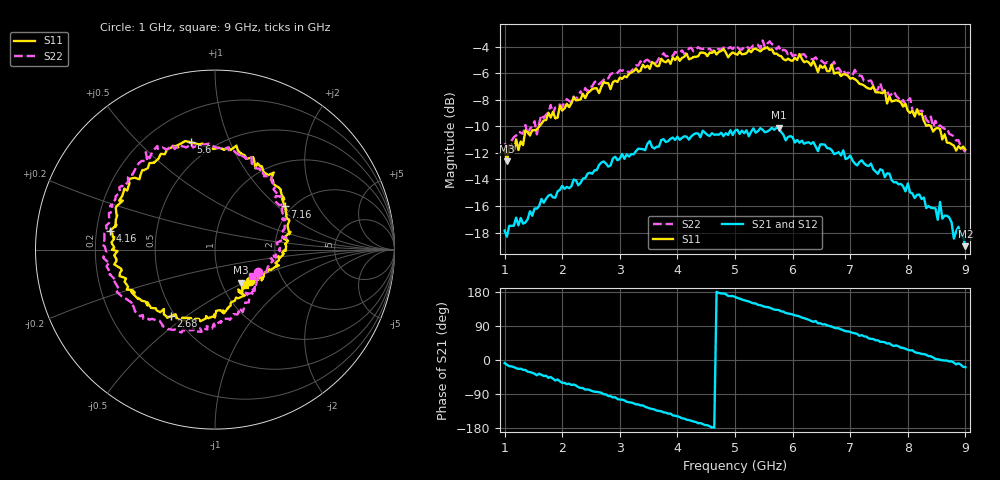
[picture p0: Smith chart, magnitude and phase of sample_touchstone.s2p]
!Synthetic 2-port Touchstone sample dataset
! Created with skrf 2.0.1 (http://scikit-rf.org).
# GHz S RI R 50.0
!freq ReS11 ImS11 ReS21 ImS21 ReS12 ImS12 ReS22 ImS22
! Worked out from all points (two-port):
!   201 points, 1 GHz to 9 GHz, reference 50 ohm
!   highest |S21| = -10.10 dB at 5.76 GHz (marker M1); lowest = -19.0 dB at 9 GHz (marker M2)
!   |S21| within 3 dB of the highest: 2.62 GHz to 7.388 GHz (4.768 GHz wide, 95.3 % of centre)
!   lowest |S11| = -12.6 dB at 1.04 GHz (marker M3), VSWR 1.61, Z = 61.6 - j23.9 ohm
!   |S11| at or under -10 dB: start of sweep to 1.602 GHz; 8.402 GHz to end of sweep
!   |S22| runs from -11.9 to -3.5 dB; largest |S21 - S12| = 0
!   S11 on the Smith chart (normalised r, x): 1 GHz: 1.37, -0.51; 2.68 GHz: 0.47, -0.44; 4.16 GHz: 0.26, +0.08; 5.6 GHz: 0.38, +0.73; 7.16 GHz: 1.83, +1.12; 9 GHz: 1.27, -0.54
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1  0.1923 -0.1742  0.1267 -0.0182  0.1267 -0.0182  0.2417 -0.1273
1.04  0.1435 -0.1837  0.1185 -0.0261  0.1185 -0.0261  0.2318 -0.1262
1.36  0.1667 -0.2552  0.1231 -0.0609  0.1231 -0.0609  0.2206 -0.2316
1.56  0.0881 -0.2944  0.1183 -0.1  0.1183 -0.1  0.17 -0.241
1.8  0.0445 -0.3384  0.1242 -0.1232  0.1242 -0.1232  0.1547 -0.3477
2.36  -0.1261 -0.3994  0.054 -0.1937  0.054 -0.1937  -0.0065 -0.4124
2.68  -0.2457 -0.3717  0.0134 -0.2306  0.0134 -0.2306  -0.1196 -0.448
3.36  -0.4596 -0.2261  -0.1291 -0.2257  -0.1291 -0.2257  -0.3996 -0.3858
3.68  -0.5225 -0.1066  -0.1858 -0.1894  -0.1858 -0.1894  -0.5035 -0.268
4.16  -0.5841 0.1056  -0.2671 -0.1106  -0.2671 -0.1106  -0.5913 -0.0742
4.36  -0.5482 0.191  -0.2891 -0.0673  -0.2891 -0.0673  -0.6273 0.0277
5  -0.3954 0.4427  -0.2962 0.07  -0.2962 0.07  -0.5334 0.3473
5.6  -0.1357 0.5984  -0.2284 0.2038  -0.2284 0.2038  -0.3211 0.5774
5.76  -0.0743 0.5798  -0.2086 0.2328  -0.2086 0.2328  -0.239 0.5848
6.36  0.2137 0.5147  -0.0514 0.2709  -0.0514 0.2709  0.0542 0.5632
7.16  0.3889 0.2407  0.1017 0.2083  0.1017 0.2083  0.3187 0.3735
7.68  0.4073 0.0488  0.1509 0.1459  0.1509 0.1459  0.3737 0.1701
8.04  0.3537 -0.0359  0.1609 0.0768  0.1609 0.0768  0.3984 0.0638
8.12  0.336 -0.075  0.1586 0.0603  0.1586 0.0603  0.3437 0.0379
8.52  0.2595 -0.1722  0.1405 0.00462  0.1405 0.00462  0.3057 -0.078
8.56  0.2668 -0.1558  0.1642 0.0014  0.1642 0.0014  0.3084 -0.0796
9  0.1664 -0.1973  0.1057 -0.0366  0.1057 -0.0366  0.204 -0.1491
